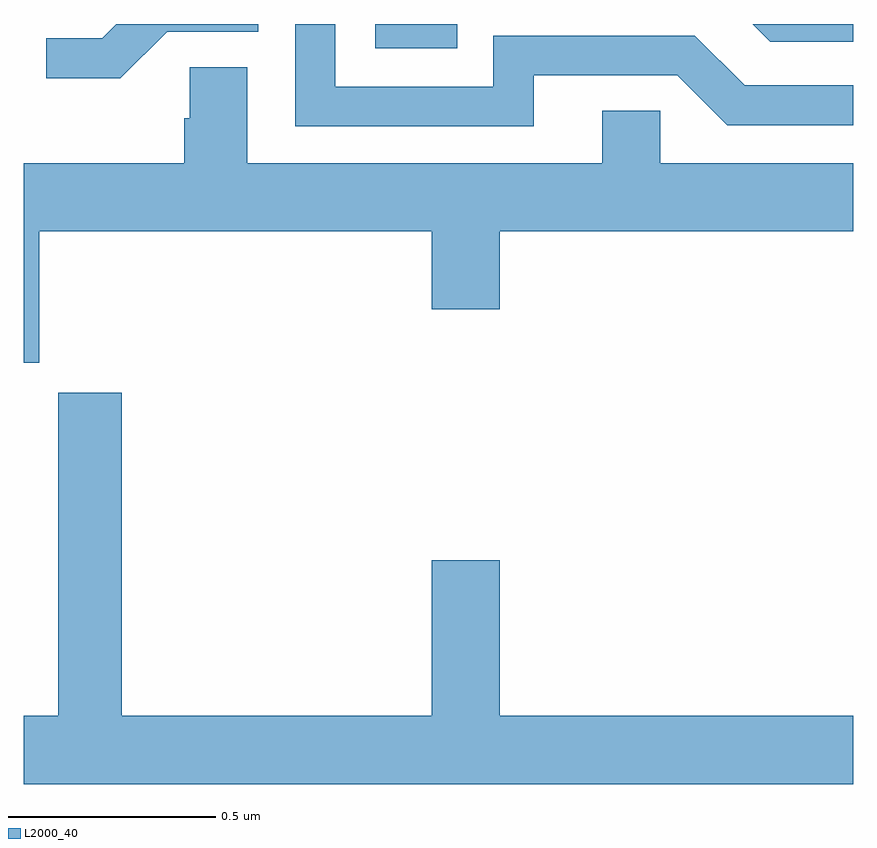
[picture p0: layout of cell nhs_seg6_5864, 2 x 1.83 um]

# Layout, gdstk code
import gdstk
lib = gdstk.Library(unit=1e-6, precision=1e-09)
def R(c, l, rs):  # rectangles x0, y0, x1, y1
    for r in rs: c.add(gdstk.rectangle(r[:2], r[2:], *l))
def P(c, l, *ps):  # polygons
    for p in ps: c.add(gdstk.Polygon(p, *l))
L2000_40 = (2000, 40)

nhs_seg6_5864 = lib.new_cell('nhs_seg6_5864')
R(nhs_seg6_5864, L2000_40, [(188.847,950.441,189.045,950.5)])
P(nhs_seg6_5864, L2000_40, [(190,950.5),(189.757,950.5),(189.8,950.457),(190,950.457)],
  [(188.346,950.481),(188.565,950.481),(188.565,950.5),(188.223,950.5),(188.189,950.466),(188.055,950.466),(188.055,950.369),(188.233,950.369)],
  [(189.229,950.376),(189.576,950.376),(189.696,950.256),(190,950.256),(190,950.352),(189.738,950.352),(189.618,950.472),(189.132,950.472),(189.132,950.349),(188.751,950.349),(188.751,950.5),(188.655,950.5),(188.655,950.253),(189.229,950.253)],
  [(188.038,950),(188.984,950),(188.984,949.812),(189.148,949.812),(189.148,950),(190,950),(190,950.164),(189.534,950.164),(189.534,950.291),(189.395,950.291),(189.395,950.164),(188.539,950.164),(188.539,950.396),(188.4,950.396),(188.4,950.273),(188.387,950.273),(188.387,950.164),(188,950.164),(188,949.683),(188.038,949.683)],
  [(190,948.832),(189.148,948.832),(189.148,949.207),(188.984,949.207),(188.984,948.832),(188.237,948.832),(188.237,949.611),(188.084,949.611),(188.084,948.832),(188,948.832),(188,948.668),(190,948.668)])

lib.write_gds('nhs_seg6_5864.gds')
